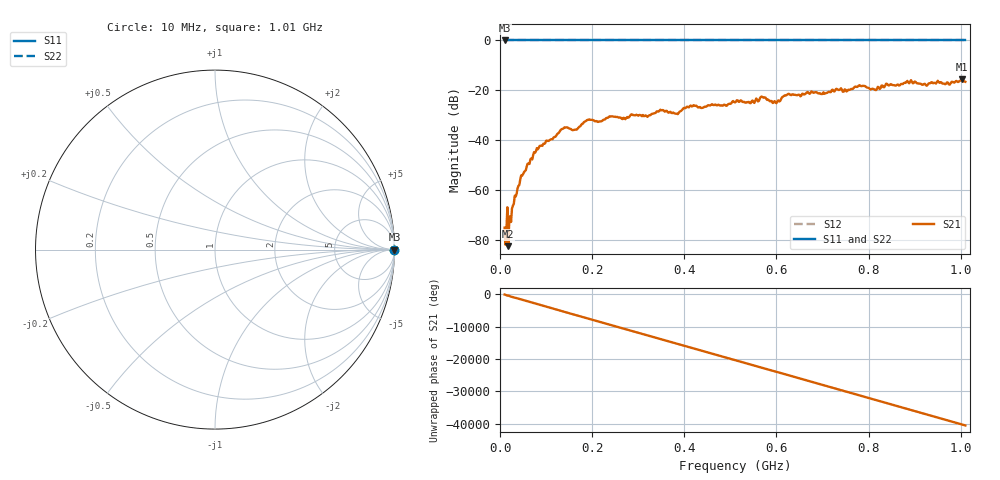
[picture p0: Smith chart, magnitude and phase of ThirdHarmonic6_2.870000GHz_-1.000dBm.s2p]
! 8/17/2025 7:50:34 AM
! C:\ANRITSUVNA\TEMP\TEMP.S2P
! CHANNEL.1
! TR.MEASUREMENT
! RAW.DATA
! RF.CORRECTION.OFF
! AVERAGING.OFF
! IF.BANDWIDTH: 5KHZ
! SWEEPTYPE:  FREQ.SWEEP(Linear)
! Reference Plane Port Info
! PORT:  PORT1  PORT2
! DISTANCE:  0  m  0  m
! TIME:  0  s  0  s
! PHASE.OFFSET:  0  deg.  0  deg.
! LOSS:  0  dB  0  dB
! REF.LOSS:  0  dB  0  dB
! REF.FREQ:  0  Hz  0  Hz
! Power Info
! POWER:  -20  dBm  -20  dBm
! EFF.POWER:  -20  dBm  -20  dBm
! SOURCE.ATTEN:  0  dB  0  dB
! TEST.ATTEN:  0  dB  0  dB
# GHZ S RI R 50.0
! FREQ.GHZ  S11RE  S11IM  S21RE  S21IM  S12RE  S12IM  S22RE  S22IM
!; PortSelection: Port_12
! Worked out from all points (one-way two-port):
!   501 points, 10 MHz to 1.01 GHz, reference 50 ohm
!   highest |S21| = -15.67 dB at 1.002 GHz (marker M1); lowest = -82.6 dB at 18 MHz (marker M2)
!   lowest |S11| = 0.0 dB at 10 MHz (marker M3)
!   |S11| at or under -10 dB: nowhere
!   |S22| runs from 0.0 to 0.0 dB; largest |S21 - S12| = 1.2
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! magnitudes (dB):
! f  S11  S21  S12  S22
! 10 MHz  0.0  -75.2  0.0  0.0
! 18 MHz  0.0  -82.6  0.0  0.0
! 22 MHz  0.0  -70.6  0.0  0.0
! 30 MHz  0.0  -65.6  0.0  0.0
! 44 MHz  0.0  -55.8  0.0  0.0
! 76 MHz  0.0  -45.1  0.0  0.0
! 136 MHz  0.0  -35.5  0.0  0.0
! 162 MHz  0.0  -35.9  0.0  0.0
! 178 MHz  0.0  -33.5  0.0  0.0
! 344 MHz  0.0  -28.6  0.0  0.0
! 384 MHz  0.0  -29.4  0.0  0.0
! 416 MHz  0.0  -26.5  0.0  0.0
! 510 MHz  0.0  -24.9  0.0  0.0
! 570 MHz  0.0  -22.8  0.0  0.0
! 596 MHz  0.0  -24.4  0.0  0.0
! 624 MHz  0.0  -21.7  0.0  0.0
! 678 MHz  0.0  -20.7  0.0  0.0
! 782 MHz  0.0  -18.2  0.0  0.0
! 814 MHz  0.0  -19.8  0.0  0.0
! 844 MHz  0.0  -18.1  0.0  0.0
! 1.002 GHz  0.0  -15.7  0.0  0.0
! 1.01 GHz  0.0  -16.6  0.0  0.0
